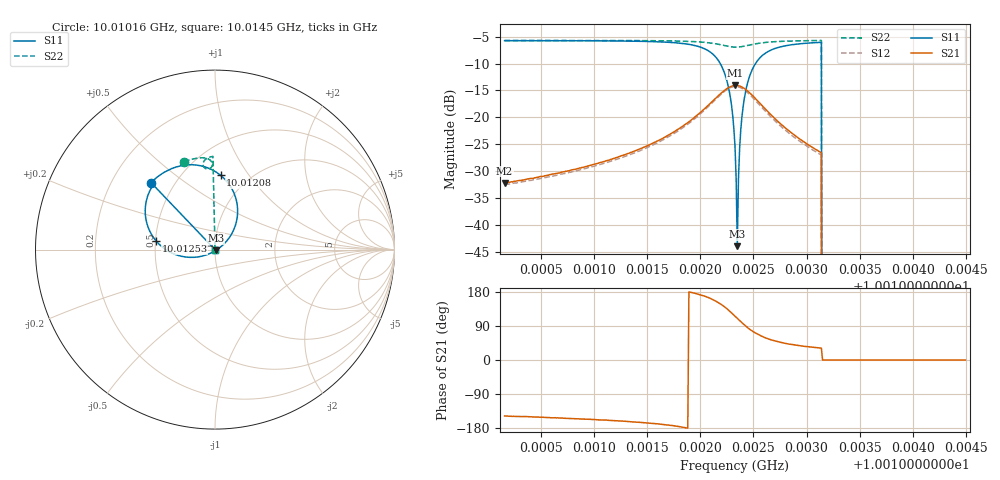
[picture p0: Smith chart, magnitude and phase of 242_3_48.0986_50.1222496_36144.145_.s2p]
#  HZ  S  RI  R  50.00
! Rohde & Schwarz Vector Network Analyzer
! Rohde-Schwarz,ZNB20-2Port,1311601062101988,3.16
! Created: UTC 12/23/2023, 3:58:52 AM
! freq[Hz]  re:S11  im:S11  re:S21  im:S21  re:S12  im:S12  re:S22  im:S22
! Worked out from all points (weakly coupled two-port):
!   401 points, 10.01016 GHz to 10.0145 GHz, reference 50 ohm
!   highest |S21| = -14.06 dB at 10.01233 GHz (marker M1); lowest = -32.2 dB at 10.01016 GHz (marker M2)
!   lowest |S11| = -44.0 dB at 10.01235 GHz (marker M3), VSWR 1.01, Z = 50.4 - j0.471 ohm
!   |S11| at or under -10 dB: 10.01219 GHz to 10.01252 GHz (331.1 kHz wide, 0.00331 % of centre); 10.01314 GHz to end of sweep
!   |S22| runs from - to -5.7 dB; largest |S21 - S12| = 0.0098
!   S11 on the Smith chart (normalised r, x): 10.01016 GHz: 0.37, +0.38; 10.01208 GHz: 0.74, +0.75; 10.01253 GHz: 0.50, +0.05; 10.0145 GHz: 1.00, +0.00
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1.0010159e10  -0.3575 0.373  -0.0207 -0.0131  -0.0193 -0.0136  -0.1723 0.4896
1.0010885e10  -0.3013 0.419  -0.0311 -0.014  -0.0291 -0.015  -0.1248 0.5041
1.0011612e10  -0.1923 0.4664  -0.06 -0.0118  -0.0572 -0.0142  -0.0701 0.5116
1.0012078e10  0.0308 0.4143  -0.1254 0.0343  -0.1235 0.0267  -0.0225 0.4939
1.0012186e10  0.1116 0.2994  -0.1403 0.0856  -0.1414 0.076  -0.0155 0.4752
1.0012262e10  0.1196 0.1565  -0.1273 0.1384  -0.1304 0.1303  -0.021 0.4581
1.0012305e10  0.0799 0.0669  -0.1026 0.1676  -0.1075 0.1594  -0.0302 0.4508
1.0012316e10  0.0638 0.0461  -0.0943 0.1733  -0.0994 0.1657  -0.0331 0.4497
1.0012327e10  0.0462 0.0277  -0.0858 0.1785  -0.0911 0.1708  -0.0358 0.449
1.0012349e10  0.00426 -0.00467  -0.0668 0.1861  -0.072 0.1791  -0.0422 0.4486
1.0012371e10  -0.0428 -0.0276  -0.0478 0.1896  -0.0519 0.1833  -0.0484 0.4496
1.0012381e10  -0.0678 -0.0355  -0.0378 0.19  -0.042 0.1837  -0.0512 0.4509
1.0012392e10  -0.0926 -0.0406  -0.028 0.1892  -0.0324 0.1832  -0.0539 0.4522
1.0012414e10  -0.1416 -0.0431  -0.00957 0.1857  -0.0147 0.1796  -0.0584 0.4559
1.0012468e10  -0.2465 -0.0161  0.0277 0.1657  0.0215 0.1606  -0.0652 0.4675
1.0012533e10  -0.3273 0.0473  0.0513 0.1352  0.045 0.1311  -0.0659 0.4811
1.0012707e10  -0.3886 0.2033  0.0618 0.074  0.0563 0.0728  -0.0517 0.5037
1.0013053e10  -0.3556 0.3425  0.0437 0.0293  0.0402 0.0299  -0.0187 0.5179
1.0013119e10  -0.3474 0.3567  0.0409 0.0254  0.0377 0.0262  -0.0132 0.5189
1.0013173e10  0 0  0 0  0 0  0 0
1.001378e10  0 0  0 0  0 0  0 0
1.0014495e10  0 0  0 0  0 0  0 0
